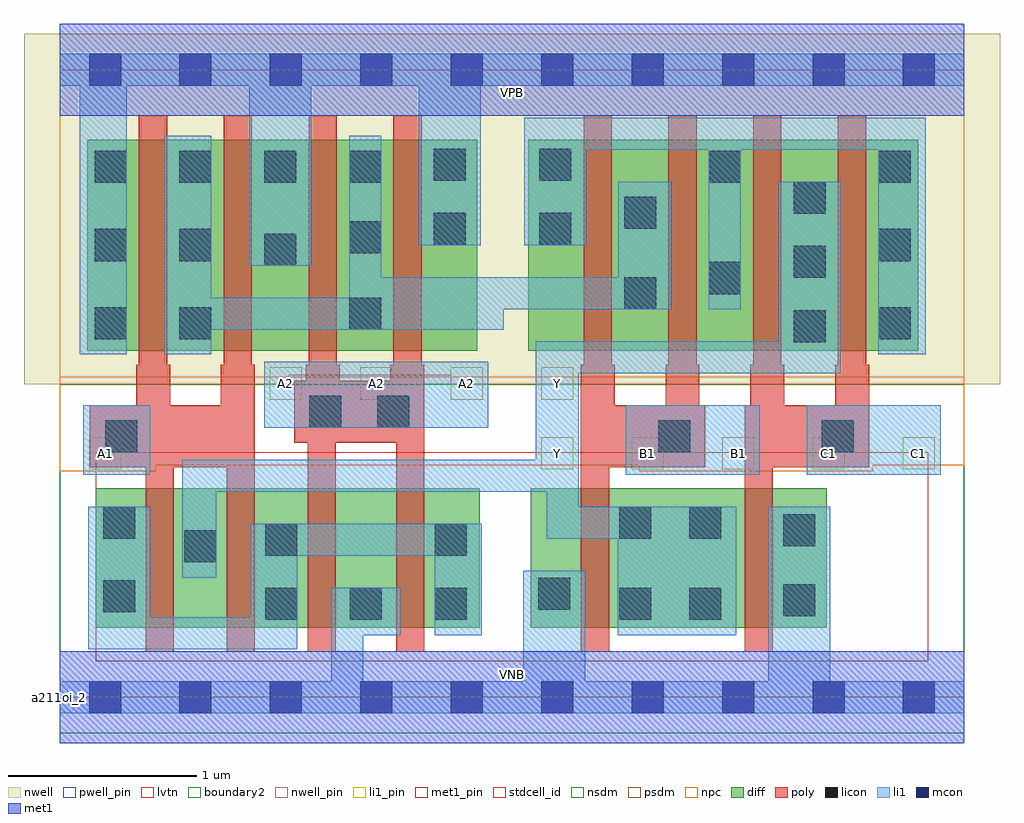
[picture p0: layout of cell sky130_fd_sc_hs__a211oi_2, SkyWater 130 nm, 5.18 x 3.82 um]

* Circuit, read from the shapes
.subckt sky130_fd_sc_hs__a211oi_2 A1 A2 B1 C1 VGND VNB VPB VPWR Y
XM1 Y A1 n1 VNB sky130_fd_pr__nfet_01v8_lvt w=0.74 l=0.15 m=2
XM2 VGND A2 n1 VNB sky130_fd_pr__nfet_01v8_lvt w=0.74 l=0.15 m=2
XM3 Y B1 VGND VNB sky130_fd_pr__nfet_01v8_lvt w=0.74 l=0.15
XM4 VGND C1 Y VNB sky130_fd_pr__nfet_01v8_lvt w=0.74 l=0.15
XM5 n2 A1 VPWR VPB sky130_fd_pr__pfet_01v8 w=1.12 l=0.15 m=2
XM6 n2 A2 VPWR VPB sky130_fd_pr__pfet_01v8 w=1.12 l=0.15 m=2
XM7 n2 B1 n3 VPB sky130_fd_pr__pfet_01v8 w=1.12 l=0.15 m=2
XM8 Y C1 n3 VPB sky130_fd_pr__pfet_01v8 w=1.12 l=0.15 m=2
.ends

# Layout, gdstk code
import gdstk
lib = gdstk.Library(unit=1e-6, precision=1e-09)
def R(c, l, rs):  # rectangles x0, y0, x1, y1
    for r in rs: c.add(gdstk.rectangle(r[:2], r[2:], *l))
def A(c, l, x, y, w, h, nx, ny, dx, dy):  # array of equal rectangles
    R(c, l, [(x+i*dx, y+j*dy, x+i*dx+w, y+j*dy+h) for i in range(nx) for j in range(ny)])
def P(c, l, *ps):  # polygons
    for p in ps: c.add(gdstk.Polygon(p, *l))
nwell_pin = (64, 16)
nwell = (64, 20)
diff = (65, 20)
poly = (66, 20)
licon = (66, 44)
li1_pin = (67, 16)
li1 = (67, 20)
mcon = (67, 44)
met1_pin = (68, 16)
met1 = (68, 20)
stdcell_id = (81, 4)
nsdm = (93, 44)
psdm = (94, 20)
npc = (95, 20)
pwell_pin = (122, 16)
lvtn = (125, 44)
boundary2 = (236, 0)

sky130_fd_sc_hs__a211oi_ = lib.new_cell('sky130_fd_sc_hs__a211oi_2')
R(sky130_fd_sc_hs__a211oi_, nwell_pin, [(0,3.085,4.8,3.33)])
R(sky130_fd_sc_hs__a211oi_, nwell, [(-0.19,1.66,4.99,3.52)])
R(sky130_fd_sc_hs__a211oi_, diff, [(0.19,0.37,2.23,1.11), (2.5,0.37,4.07,1.11), (0.145,1.84,2.215,2.96), (2.485,1.84,4.555,2.96)])
P(sky130_fd_sc_hs__a211oi_, poly, [(4.295,1.765),(4.28,1.765),(4.28,3.09),(4.13,3.09),(4.13,1.765),(4.115,1.765),(4.115,1.55),(3.845,1.55),(3.845,1.765),(3.83,1.765),(3.83,3.09),(3.68,3.09),(3.68,1.765),(3.665,1.765),(3.665,1.55),(3.635,1.55),(3.635,0.24),(3.785,0.24),(3.785,1.22),(4.295,1.22)],
  [(3.425,1.55),(3.395,1.55),(3.395,1.765),(3.38,1.765),(3.38,3.09),(3.23,3.09),(3.23,1.765),(3.215,1.765),(3.215,1.55),(2.945,1.55),(2.945,1.765),(2.93,1.765),(2.93,3.09),(2.78,3.09),(2.78,1.765),(2.765,1.765),(2.765,0.24),(2.915,0.24),(2.915,1.22),(3.425,1.22)],
  [(1.935,1.765),(1.92,1.765),(1.92,3.09),(1.77,3.09),(1.77,1.765),(1.755,1.765),(1.755,1.68),(1.485,1.68),(1.485,1.765),(1.47,1.765),(1.47,3.09),(1.32,3.09),(1.32,1.765),(1.305,1.765),(1.305,1.68),(1.245,1.68),(1.245,1.35),(1.315,1.35),(1.315,0.24),(1.465,0.24),(1.465,1.35),(1.785,1.35),(1.785,0.24),(1.935,0.24)],
  [(1.035,1.765),(1.02,1.765),(1.02,3.09),(0.87,3.09),(0.87,1.765),(0.855,1.765),(0.855,1.55),(0.585,1.55),(0.585,1.765),(0.57,1.765),(0.57,3.09),(0.42,3.09),(0.42,1.765),(0.405,1.765),(0.405,1.55),(0.16,1.55),(0.16,1.22),(0.455,1.22),(0.455,0.24),(0.605,0.24),(0.605,1.22),(0.885,1.22),(0.885,0.24),(1.035,0.24)])
A(sky130_fd_sc_hs__a211oi_, licon, 1.09, 0.41, 0.17, 0.17, 3, 1, 0.45, 0)
A(sky130_fd_sc_hs__a211oi_, licon, 3.895, 1.885, 0.17, 0.17, 1, 3, 0, 0.34)
A(sky130_fd_sc_hs__a211oi_, licon, 4.345, 1.9, 0.17, 0.17, 1, 3, 0, 0.415)
A(sky130_fd_sc_hs__a211oi_, licon, 0.185, 2.73, 0.17, 0.17, 4, 1, 0.45, 0)
R(sky130_fd_sc_hs__a211oi_, licon, [(2.97,0.41,3.14,0.58), (3.34,0.41,3.51,0.58), (3.84,0.43,4.01,0.6), (0.23,0.45,0.4,0.62), (2.54,0.465,2.71,0.635), (0.66,0.715,0.83,0.885), (1.09,0.75,1.26,0.92), (1.99,0.75,2.16,0.92), (3.84,0.8,4.01,0.97), (0.23,0.84,0.4,1.01), (2.97,0.84,3.14,1.01), (3.34,0.84,3.51,1.01), (0.24,1.3,0.41,1.47), (3.175,1.3,3.345,1.47), (4.045,1.3,4.215,1.47), (1.325,1.43,1.495,1.6), (1.685,1.43,1.855,1.6), (0.185,1.9,0.355,2.07), (0.635,1.9,0.805,2.07), (1.535,1.95,1.705,2.12), (2.995,2.06,3.165,2.23), (3.445,2.14,3.615,2.31), (1.085,2.29,1.255,2.46), (0.185,2.315,0.355,2.485), (0.635,2.315,0.805,2.485), (1.535,2.355,1.705,2.525), (1.985,2.4,2.155,2.57), (2.545,2.4,2.715,2.57), (2.995,2.485,3.165,2.655), (3.445,2.73,3.615,2.9), (1.985,2.74,2.155,2.91), (2.545,2.74,2.715,2.91)])
A(sky130_fd_sc_hs__a211oi_, li1_pin, 2.555, 1.21, 0.17, 0.17, 5, 1, 0.48, 0)
A(sky130_fd_sc_hs__a211oi_, li1_pin, 1.115, 1.58, 0.17, 0.17, 4, 1, 0.48, 0)
R(sky130_fd_sc_hs__a211oi_, li1_pin, [(0.155,1.21,0.325,1.38)])
R(sky130_fd_sc_hs__a211oi_, li1, [(0.125,1.18,0.48,1.55), (3.005,1.18,3.715,1.55), (3.965,1.18,4.675,1.55), (1.085,1.43,2.275,1.78)])
P(sky130_fd_sc_hs__a211oi_, li1, [(1.905,2.4),(1.905,3.245),(1.335,3.245),(1.335,2.29),(1.005,2.29),(1.005,3.245),(0.355,3.245),(0.355,1.82),(0.105,1.82),(0.105,3.245),(0,3.245),(0,3.415),(4.8,3.415),(4.8,3.245),(2.235,3.245),(2.235,2.4)],
  [(2.46,0.085),(2.46,0.67),(2.79,0.67),(2.79,0.085),(3.76,0.085),(3.76,1.01),(4.09,1.01),(4.09,0.085),(4.8,0.085),(4.8,-0.085),(0,-0.085),(0,0.085),(1.44,0.085),(1.44,0.58),(1.81,0.58),(1.81,0.33),(1.61,0.33),(1.61,0.085)],
  [(2.755,1.01),(3.59,1.01),(3.59,0.33),(2.96,0.33),(2.96,0.84),(2.585,0.84),(2.585,1.09),(0.83,1.09),(0.83,0.635),(0.65,0.635),(0.65,1.26),(2.525,1.26),(2.525,1.89),(3.815,1.89),(3.815,2.735),(4.145,2.735),(4.145,1.72),(2.755,1.72)],
  [(4.595,3.075),(2.465,3.075),(2.465,2.4),(2.795,2.4),(2.795,2.905),(3.445,2.905),(3.445,2.06),(3.615,2.06),(3.615,2.905),(4.345,2.905),(4.345,1.82),(4.595,1.82)],
  [(3.245,2.735),(2.965,2.735),(2.965,2.23),(1.705,2.23),(1.705,2.98),(1.535,2.98),(1.535,2.12),(0.805,2.12),(0.805,2.98),(0.555,2.98),(0.555,1.82),(0.805,1.82),(0.805,1.95),(2.355,1.95),(2.355,2.06),(3.245,2.06)],
  [(1.99,0.33),(1.99,0.75),(1.26,0.75),(1.26,0.255),(0.15,0.255),(0.15,1.01),(0.48,1.01),(0.48,0.425),(1.01,0.425),(1.01,0.92),(2.24,0.92),(2.24,0.33)])
A(sky130_fd_sc_hs__a211oi_, mcon, 0.155, -0.085, 0.17, 0.17, 10, 2, 0.48, 3.33)
R(sky130_fd_sc_hs__a211oi_, met1_pin, [(0,0,4.8,0.245), (0,3.085,4.8,3.33)])
R(sky130_fd_sc_hs__a211oi_, met1, [(0,-0.245,4.8,0.245), (0,3.085,4.8,3.575)])
R(sky130_fd_sc_hs__a211oi_, stdcell_id, [(0,0,4.8,3.33)])
R(sky130_fd_sc_hs__a211oi_, nsdm, [(0,-0.19,4.8,1.66)])
P(sky130_fd_sc_hs__a211oi_, psdm, [(4.8,3.52),(0,3.52),(0,1.66),(1.215,1.66),(1.215,1.71),(2.075,1.71),(2.075,1.66),(4.8,1.66)])
P(sky130_fd_sc_hs__a211oi_, npc, [(4.8,1.7),(0,1.7),(0,1.2),(0.51,1.2),(0.51,1.23),(3.075,1.23),(3.075,1.2),(4.315,1.2),(4.315,1.23),(4.8,1.23)])
R(sky130_fd_sc_hs__a211oi_, pwell_pin, [(0,0,4.8,0.245)])
R(sky130_fd_sc_hs__a211oi_, lvtn, [(0.19,0.19,4.61,1.3)])
R(sky130_fd_sc_hs__a211oi_, boundary2, [(0,0,4.8,3.33)])
sky130_fd_sc_hs__a211oi_.add(gdstk.Label('a211oi_2', (0,0), layer=83, texttype=44))
sky130_fd_sc_hs__a211oi_.add(gdstk.Label('VNB', (2.4,0.123), layer=64, texttype=59))
sky130_fd_sc_hs__a211oi_.add(gdstk.Label('VPB', (2.4,3.208), layer=64, texttype=5))
sky130_fd_sc_hs__a211oi_.add(gdstk.Label('VPWR', (2.4,3.208), layer=68, texttype=5))
sky130_fd_sc_hs__a211oi_.add(gdstk.Label('VGND', (2.4,0.123), layer=68, texttype=5))
sky130_fd_sc_hs__a211oi_.add(gdstk.Label('Y', (2.64,1.295), layer=67, texttype=5))
sky130_fd_sc_hs__a211oi_.add(gdstk.Label('Y', (2.64,1.665), layer=67, texttype=5))
sky130_fd_sc_hs__a211oi_.add(gdstk.Label('C1', (4.08,1.295), layer=67, texttype=5))
sky130_fd_sc_hs__a211oi_.add(gdstk.Label('C1', (4.56,1.295), layer=67, texttype=5))
sky130_fd_sc_hs__a211oi_.add(gdstk.Label('B1', (3.12,1.295), layer=67, texttype=5))
sky130_fd_sc_hs__a211oi_.add(gdstk.Label('B1', (3.6,1.295), layer=67, texttype=5))
sky130_fd_sc_hs__a211oi_.add(gdstk.Label('A2', (1.2,1.665), layer=67, texttype=5))
sky130_fd_sc_hs__a211oi_.add(gdstk.Label('A2', (1.68,1.665), layer=67, texttype=5))
sky130_fd_sc_hs__a211oi_.add(gdstk.Label('A2', (2.16,1.665), layer=67, texttype=5))
sky130_fd_sc_hs__a211oi_.add(gdstk.Label('A1', (0.24,1.295), layer=67, texttype=5))

lib.write_gds('sky130_fd_sc_hs__a211oi_2.gds')
